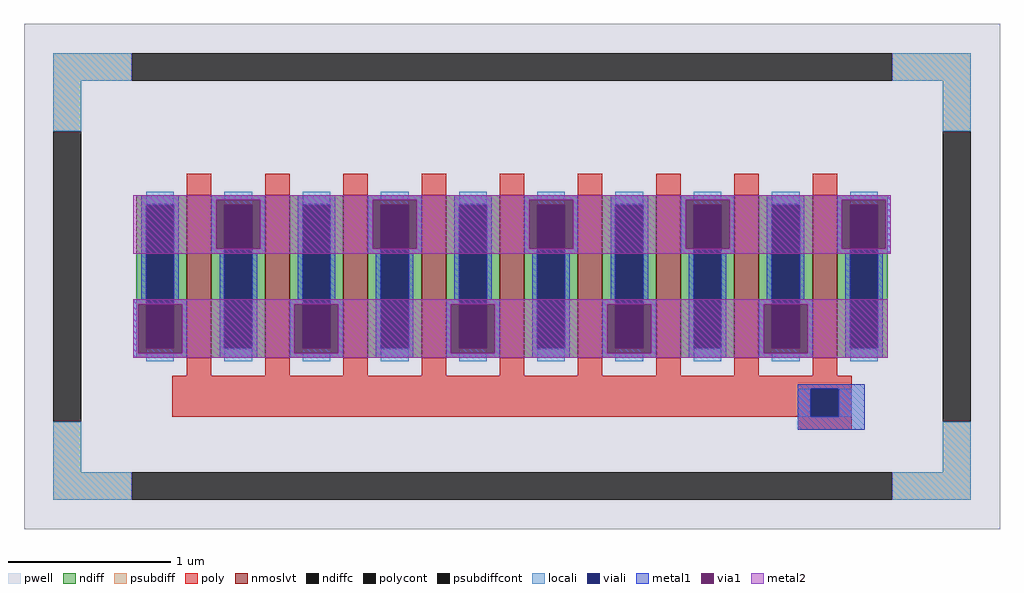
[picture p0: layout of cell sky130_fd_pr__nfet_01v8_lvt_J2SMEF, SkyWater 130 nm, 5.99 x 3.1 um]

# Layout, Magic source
magic
tech sky130A
<< pwell >>
rect -300 -155 299 155
<< nmoslvt >>
rect -200 -50 -185 50
rect -152 -50 -137 50
rect -104 -50 -89 50
rect -56 -50 -41 50
rect -8 -50 7 50
rect 40 -50 55 50
rect 88 -50 103 50
rect 136 -50 151 50
rect 184 -50 199 50
<< ndiff >>
rect -231 44 -200 50
rect -231 -44 -225 44
rect -208 -44 -200 44
rect -231 -50 -200 -44
rect -185 44 -152 50
rect -185 -44 -177 44
rect -160 -44 -152 44
rect -185 -50 -152 -44
rect -137 44 -104 50
rect -137 -44 -129 44
rect -112 -44 -104 44
rect -137 -50 -104 -44
rect -89 44 -56 50
rect -89 -44 -81 44
rect -64 -44 -56 44
rect -89 -50 -56 -44
rect -41 44 -8 50
rect -41 -44 -33 44
rect -16 -44 -8 44
rect -41 -50 -8 -44
rect 7 44 40 50
rect 7 -44 15 44
rect 32 -44 40 44
rect 7 -50 40 -44
rect 55 44 88 50
rect 55 -44 63 44
rect 80 -44 88 44
rect 55 -50 88 -44
rect 103 44 136 50
rect 103 -44 111 44
rect 128 -44 136 44
rect 103 -50 136 -44
rect 151 44 184 50
rect 151 -44 159 44
rect 176 -44 184 44
rect 151 -50 184 -44
rect 199 44 230 50
rect 199 -44 207 44
rect 224 -44 230 44
rect 199 -50 230 -44
<< ndiffc >>
rect -225 -44 -208 44
rect -177 -44 -160 44
rect -129 -44 -112 44
rect -81 -44 -64 44
rect -33 -44 -16 44
rect 15 -44 32 44
rect 63 -44 80 44
rect 111 -44 128 44
rect 159 -44 176 44
rect 207 -44 224 44
<< psubdiff >>
rect -282 120 -234 137
rect 233 120 281 137
rect -282 89 -265 120
rect 264 89 281 120
rect -282 -120 -265 -89
rect 264 -120 281 -89
rect -282 -137 -234 -120
rect 233 -137 281 -120
<< psubdiffcont >>
rect -234 120 233 137
rect -282 -89 -265 89
rect 264 -89 281 89
rect -234 -137 233 -120
<< poly >>
rect -200 50 -185 63
rect -152 50 -137 63
rect -104 50 -89 63
rect -56 50 -41 63
rect -8 50 7 63
rect 40 50 55 63
rect 88 50 103 63
rect 136 50 151 63
rect 184 50 199 63
rect -200 -61 -185 -50
rect -152 -61 -137 -50
rect -104 -61 -89 -50
rect -56 -61 -41 -50
rect -8 -61 7 -50
rect 40 -61 55 -50
rect 88 -61 103 -50
rect 136 -61 151 -50
rect 184 -61 199 -50
rect -209 -69 208 -61
rect -209 -86 183 -69
rect 200 -86 208 -69
rect 175 -94 208 -86
<< polycont >>
rect 183 -86 200 -69
<< locali >>
rect -282 120 -234 137
rect 233 120 281 137
rect -282 89 -265 120
rect 264 89 281 120
rect -225 44 -208 52
rect -225 -52 -208 -44
rect -177 44 -160 52
rect -177 -52 -160 -44
rect -129 44 -112 52
rect -129 -52 -112 -44
rect -81 44 -64 52
rect -81 -52 -64 -44
rect -33 44 -16 52
rect -33 -52 -16 -44
rect 15 44 32 52
rect 15 -52 32 -44
rect 63 44 80 52
rect 63 -52 80 -44
rect 111 44 128 52
rect 111 -52 128 -44
rect 159 44 176 52
rect 159 -52 176 -44
rect 207 44 224 52
rect 207 -52 224 -44
rect 175 -86 183 -69
rect 200 -86 208 -69
rect -282 -120 -265 -89
rect 264 -120 281 -89
rect -282 -137 -234 -120
rect 233 -137 281 -120
<< viali >>
rect -225 -44 -208 44
rect -177 -44 -160 44
rect -129 -44 -112 44
rect -81 -44 -64 44
rect -33 -44 -16 44
rect 15 -44 32 44
rect 63 -44 80 44
rect 111 -44 128 44
rect 159 -44 176 44
rect 207 -44 224 44
rect 183 -86 200 -69
<< metal1 >>
rect -228 44 -205 50
rect -228 -14 -225 44
rect -233 -17 -225 -14
rect -208 -14 -205 44
rect -185 47 -152 50
rect -185 17 -182 47
rect -155 17 -152 47
rect -185 14 -177 17
rect -208 -17 -200 -14
rect -233 -47 -230 -17
rect -203 -47 -200 -17
rect -233 -50 -200 -47
rect -180 -44 -177 14
rect -160 14 -152 17
rect -132 44 -109 50
rect -160 -44 -157 14
rect -132 -14 -129 44
rect -180 -50 -157 -44
rect -137 -17 -129 -14
rect -112 -14 -109 44
rect -89 47 -56 50
rect -89 17 -86 47
rect -59 17 -56 47
rect -89 14 -81 17
rect -112 -17 -104 -14
rect -137 -47 -134 -17
rect -107 -47 -104 -17
rect -137 -50 -104 -47
rect -84 -44 -81 14
rect -64 14 -56 17
rect -36 44 -13 50
rect -64 -44 -61 14
rect -36 -14 -33 44
rect -84 -50 -61 -44
rect -41 -17 -33 -14
rect -16 -14 -13 44
rect 7 47 40 50
rect 7 17 10 47
rect 37 17 40 47
rect 7 14 15 17
rect -16 -17 -8 -14
rect -41 -47 -38 -17
rect -11 -47 -8 -17
rect -41 -50 -8 -47
rect 12 -44 15 14
rect 32 14 40 17
rect 60 44 83 50
rect 32 -44 35 14
rect 60 -14 63 44
rect 12 -50 35 -44
rect 55 -17 63 -14
rect 80 -14 83 44
rect 103 47 136 50
rect 103 17 106 47
rect 133 17 136 47
rect 103 14 111 17
rect 80 -17 88 -14
rect 55 -47 58 -17
rect 85 -47 88 -17
rect 55 -50 88 -47
rect 108 -44 111 14
rect 128 14 136 17
rect 156 44 179 50
rect 128 -44 131 14
rect 156 -14 159 44
rect 108 -50 131 -44
rect 151 -17 159 -14
rect 176 -14 179 44
rect 199 47 232 50
rect 199 17 202 47
rect 229 17 232 47
rect 199 14 207 17
rect 176 -17 184 -14
rect 151 -47 154 -17
rect 181 -47 184 -17
rect 151 -50 184 -47
rect 204 -44 207 14
rect 224 14 232 17
rect 224 -44 227 14
rect 204 -50 227 -44
rect 175 -69 216 -66
rect 175 -86 183 -69
rect 200 -86 216 -69
rect 175 -94 216 -86
<< via1 >>
rect -182 44 -155 47
rect -182 17 -177 44
rect -177 17 -160 44
rect -160 17 -155 44
rect -230 -44 -225 -17
rect -225 -44 -208 -17
rect -208 -44 -203 -17
rect -230 -47 -203 -44
rect -86 44 -59 47
rect -86 17 -81 44
rect -81 17 -64 44
rect -64 17 -59 44
rect -134 -44 -129 -17
rect -129 -44 -112 -17
rect -112 -44 -107 -17
rect -134 -47 -107 -44
rect 10 44 37 47
rect 10 17 15 44
rect 15 17 32 44
rect 32 17 37 44
rect -38 -44 -33 -17
rect -33 -44 -16 -17
rect -16 -44 -11 -17
rect -38 -47 -11 -44
rect 106 44 133 47
rect 106 17 111 44
rect 111 17 128 44
rect 128 17 133 44
rect 58 -44 63 -17
rect 63 -44 80 -17
rect 80 -44 85 -17
rect 58 -47 85 -44
rect 202 44 229 47
rect 202 17 207 44
rect 207 17 224 44
rect 224 17 229 44
rect 154 -44 159 -17
rect 159 -44 176 -17
rect 176 -44 181 -17
rect 154 -47 181 -44
<< metal2 >>
rect -233 47 232 50
rect -233 17 -182 47
rect -155 17 -86 47
rect -59 17 10 47
rect 37 17 106 47
rect 133 17 202 47
rect 229 17 232 47
rect -233 14 232 17
rect -233 -17 230 -14
rect -233 -47 -230 -17
rect -203 -47 -134 -17
rect -107 -47 -38 -17
rect -11 -47 58 -17
rect 85 -47 154 -17
rect 181 -47 230 -17
rect -233 -50 230 -47
<< properties >>
string FIXED_BBOX -273 -128 273 128
string gencell sky130_fd_pr__nfet_01v8_lvt
string library sky130
string parameters w 1.0 l 0.15 m 1 nf 9 diffcov 100 polycov 100 guard 1 glc 1 grc 1 gtc 1 gbc 1 tbcov 100 rlcov 100 topc 1 botc 1 poverlap 0 doverlap 1 lmin 0.15 wmin 0.42 compatible {sky130_fd_pr__nfet_01v8 sky130_fd_pr__nfet_01v8_lvt  sky130_fd_bs_flash__special_sonosfet_star  sky130_fd_pr__nfet_g5v0d10v5 sky130_fd_pr__nfet_05v0_nvt  sky130_fd_pr__nfet_03v3_nvt} full_metal 1 viasrc 100 viadrn 100 viagate 100 viagb 0 viagr 0 viagl 0 viagt 0
<< end >>
